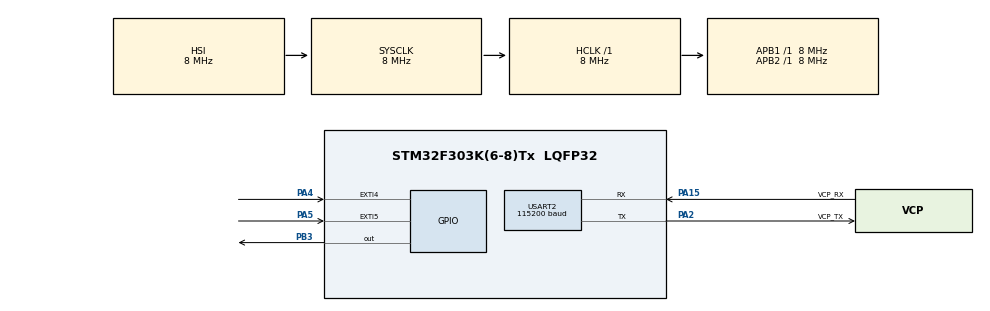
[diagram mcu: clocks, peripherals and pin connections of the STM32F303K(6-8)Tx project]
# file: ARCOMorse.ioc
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Mcu.Family=STM32F3
Mcu.Name=STM32F303K(6-8)Tx
Mcu.Package=LQFP32
NVIC.EXTI4_IRQn=true\:0\:0\:false\:false\:true\:true\:true\:true
NVIC.EXTI9_5_IRQn=true\:0\:0\:false\:false\:true\:true\:true\:true
NVIC.PriorityGroup=NVIC_PRIORITYGROUP_4
NVIC.TIM2_IRQn=true\:0\:0\:false\:false\:true\:true\:true\:true
PA13.GPIO_Label=SWDIO
PA13.Mode=Serial_Wire
PA13.Signal=SYS_JTMS-SWDIO
PA14.GPIO_Label=SWCLK
PA14.Mode=Serial_Wire
PA14.Signal=SYS_JTCK-SWCLK
PA15.GPIO_Label=VCP_RX
PA15.Mode=Asynchronous
PA15.Signal=USART2_RX
PA2.GPIO_Label=VCP_TX
PA2.Mode=Asynchronous
PA2.Signal=USART2_TX
PA4.GPIO_ModeDefaultEXTI=GPIO_MODE_IT_FALLING
PA4.Signal=GPXTI4
PA5.GPIO_ModeDefaultEXTI=GPIO_MODE_IT_FALLING
PA5.Signal=GPXTI5
PB3.Signal=GPIO_Output
PF0\ /\ OSC_IN.GPIO_Label=MCO
PF0\ /\ OSC_IN.Mode=HSE-External-Clock-Source
PF0\ /\ OSC_IN.Signal=RCC_OSC_IN
ProjectManager.HeapSize=0x200
ProjectManager.StackSize=0x400
ProjectManager.TargetToolchain=STM32CubeIDE
RCC.AHBFreq_Value=8000000
RCC.APB1Freq_Value=8000000
RCC.APB2Freq_Value=8000000
RCC.CortexFreq_Value=8000000
RCC.HSE_VALUE=8000000
RCC.HSI_VALUE=8000000
RCC.SYSCLKFreq_VALUE=8000000
TIM2.Period=4999
TIM2.Prescaler=7999
USART2.BaudRate=115200
USART2.VirtualMode-Asynchronous=VM_ASYNC
VP_TIM15_VS_ClockSourceINT.Mode=Internal
VP_TIM1_VS_ClockSourceINT.Mode=Internal
VP_TIM2_VS_ClockSourceINT.Mode=Internal
board=NUCLEO-F303K8

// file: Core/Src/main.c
/* USER CODE BEGIN Header */
/**
  ******************************************************************************
  * @file           : main.c
  * @brief          : Main program body
  ******************************************************************************
  * @attention
  *
  * Copyright (c) 2024 STMicroelectronics.
  * All rights reserved.
  *
  * This software is licensed under terms that can be found in the LICENSE file
  * in the root directory of this software component.
  * If no LICENSE file comes with this software, it is provided AS-IS.
  *
  ******************************************************************************
  */
/* USER CODE END Header */
#include "main.h"

/* USER CODE BEGIN Includes */
#include "stdio.h"
#include "string.h"
/* USER CODE END Includes */

TIM_HandleTypeDef htim1;
TIM_HandleTypeDef htim2;
TIM_HandleTypeDef htim15;

UART_HandleTypeDef huart2;

/* USER CODE BEGIN PV */
volatile int retransmitiendo = 0;
volatile int pulsado = 0;
char cadena[10];        // Cadena para almacenar puntos y rayas del código Morse
int indiceCadena = 0;   // Índice para manejar la cadena
/* USER CODE END PV */

void SystemClock_Config(void);
static void MX_GPIO_Init(void);
static void MX_USART2_UART_Init(void);
static void MX_TIM2_Init(void);
static void MX_TIM1_Init(void);
static void MX_TIM15_Init(void);

/* USER CODE BEGIN 0 */
// Función para decodificar código Morse a texto
char MorseDecode(const char *morseCode) {
    if (strcmp(morseCode, ".-") == 0) return 'A';
    if (strcmp(morseCode, "-...") == 0) return 'B';
    if (strcmp(morseCode, "-.-.") == 0) return 'C';
    if (strcmp(morseCode, "-..") == 0) return 'D';
    if (strcmp(morseCode, ".") == 0) return 'E';
    if (strcmp(morseCode, "..-.") == 0) return 'F';
    if (strcmp(morseCode, "--.") == 0) return 'G';
    if (strcmp(morseCode, "....") == 0) return 'H';
    if (strcmp(morseCode, "..") == 0) return 'I';
    if (strcmp(morseCode, ".---") == 0) return 'J';
    if (strcmp(morseCode, "-.-") == 0) return 'K';
    if (strcmp(morseCode, ".-..") == 0) return 'L';
    if (strcmp(morseCode, "--") == 0) return 'M';
    if (strcmp(morseCode, "-.") == 0) return 'N';
    if (strcmp(morseCode, "---") == 0) return 'O';
    if (strcmp(morseCode, ".--.") == 0) return 'P';
    if (strcmp(morseCode, "--.-") == 0) return 'Q';
    if (strcmp(morseCode, ".-.") == 0) return 'R';
    if (strcmp(morseCode, "...") == 0) return 'S';
    if (strcmp(morseCode, "-") == 0) return 'T';
    if (strcmp(morseCode, "..-") == 0) return 'U';
    if (strcmp(morseCode, "...-") == 0) return 'V';
    if (strcmp(morseCode, ".--") == 0) return 'W';
    if (strcmp(morseCode, "-..-") == 0) return 'X';
    if (strcmp(morseCode, "-.--") == 0) return 'Y';
    if (strcmp(morseCode, "--..") == 0) return 'Z';
    return '?'; // Si no se encuentra coincidencia
}
/* USER CODE END 0 */

int main(void)
{

  /* MCU Configuration--------------------------------------------------------*/

  /* Reset of all peripherals, Initializes the Flash interface and the Systick. */
  HAL_Init();

  /* Configure the system clock */
  SystemClock_Config();

  /* Initialize all configured peripherals */
  MX_GPIO_Init();
  MX_USART2_UART_Init();
  MX_TIM2_Init();
  MX_TIM1_Init();
  MX_TIM15_Init();
  /* USER CODE BEGIN 2 */
  HAL_TIM_Base_Start_IT(&htim2);
  int anterior=1;
  HAL_SYSTICK_Config(8000000/1000);

  /* USER CODE END 2 */

  /* Infinite loop */
  /* USER CODE BEGIN WHILE */
  while (1)
  {
    if (retransmitiendo) {
        HAL_GPIO_WritePin(GPIOB, GPIO_PIN_3, 1);
        while (HAL_GPIO_ReadPin(GPIOA, GPIO_PIN_5) == 0) {
        }
        if (pulsado) {
            if (TIM2->CNT >175) {
                cadena[indiceCadena] = '-';
                indiceCadena++;
            } else {
                cadena[indiceCadena] = '.';
                indiceCadena++;
            }
            pulsado = 0;
        }
        anterior=0;
    } else{

    	if(anterior==0 ){
			if (indiceCadena > 0) {
				cadena[indiceCadena] = '\0'; // Terminar la cadena
				char decodedChar = MorseDecode(cadena); // Decodificar el carácter Morse
				char mensaje[2] = {decodedChar, '\0'}; // Preparar para enviar
				HAL_UART_Transmit(&huart2, (uint8_t *)mensaje, strlen(mensaje), 0);
			}else {
				 HAL_UART_Transmit(&huart2, (uint8_t *)" ", 1, 0);

			}
			indiceCadena = 0;
			HAL_GPIO_WritePin(GPIOB, GPIO_PIN_3, 0);
			strcpy(cadena, ""); // Reiniciar cadena
			anterior=1;

    	}
    }
    /* USER CODE END WHILE */

  }
}

void SystemClock_Config(void)
{
  RCC_OscInitTypeDef RCC_OscInitStruct = {0};
  RCC_ClkInitTypeDef RCC_ClkInitStruct = {0};
  RCC_PeriphCLKInitTypeDef PeriphClkInit = {0};

  /** Initializes the RCC Oscillators according to the specified parameters
  * in the RCC_OscInitTypeDef structure.
  */
  RCC_OscInitStruct.OscillatorType = RCC_OSCILLATORTYPE_HSI;
  RCC_OscInitStruct.HSIState = RCC_HSI_ON;
  RCC_OscInitStruct.HSICalibrationValue = RCC_HSICALIBRATION_DEFAULT;
  RCC_OscInitStruct.PLL.PLLState = RCC_PLL_NONE;
  if (HAL_RCC_OscConfig(&RCC_OscInitStruct) != HAL_OK)
  {
    Error_Handler();
  }

  /** Initializes the CPU, AHB and APB buses clocks
  */
  RCC_ClkInitStruct.ClockType = RCC_CLOCKTYPE_HCLK|RCC_CLOCKTYPE_SYSCLK
                              |RCC_CLOCKTYPE_PCLK1|RCC_CLOCKTYPE_PCLK2;
  RCC_ClkInitStruct.SYSCLKSource = RCC_SYSCLKSOURCE_HSI;
  RCC_ClkInitStruct.AHBCLKDivider = RCC_SYSCLK_DIV1;
  RCC_ClkInitStruct.APB1CLKDivider = RCC_HCLK_DIV1;
  RCC_ClkInitStruct.APB2CLKDivider = RCC_HCLK_DIV1;

  if (HAL_RCC_ClockConfig(&RCC_ClkInitStruct, FLASH_LATENCY_0) != HAL_OK)
  {
    Error_Handler();
  }
  PeriphClkInit.PeriphClockSelection = RCC_PERIPHCLK_TIM1;
  PeriphClkInit.Tim1ClockSelection = RCC_TIM1CLK_HCLK;
  if (HAL_RCCEx_PeriphCLKConfig(&PeriphClkInit) != HAL_OK)
  {
    Error_Handler();
  }
}

static void MX_TIM1_Init(void)
{

  TIM_ClockConfigTypeDef sClockSourceConfig = {0};
  TIM_MasterConfigTypeDef sMasterConfig = {0};

  htim1.Instance = TIM1;
  htim1.Init.Prescaler = 0;
  htim1.Init.CounterMode = TIM_COUNTERMODE_UP;
  htim1.Init.Period = 65535;
  htim1.Init.ClockDivision = TIM_CLOCKDIVISION_DIV1;
  htim1.Init.RepetitionCounter = 0;
  htim1.Init.AutoReloadPreload = TIM_AUTORELOAD_PRELOAD_DISABLE;
  if (HAL_TIM_Base_Init(&htim1) != HAL_OK)
  {
    Error_Handler();
  }
  sClockSourceConfig.ClockSource = TIM_CLOCKSOURCE_INTERNAL;
  if (HAL_TIM_ConfigClockSource(&htim1, &sClockSourceConfig) != HAL_OK)
  {
    Error_Handler();
  }
  sMasterConfig.MasterOutputTrigger = TIM_TRGO_RESET;
  sMasterConfig.MasterOutputTrigger2 = TIM_TRGO2_RESET;
  sMasterConfig.MasterSlaveMode = TIM_MASTERSLAVEMODE_DISABLE;
  if (HAL_TIMEx_MasterConfigSynchronization(&htim1, &sMasterConfig) != HAL_OK)
  {
    Error_Handler();
  }

}

static void MX_TIM2_Init(void)
{

  TIM_ClockConfigTypeDef sClockSourceConfig = {0};
  TIM_MasterConfigTypeDef sMasterConfig = {0};

  htim2.Instance = TIM2;
  htim2.Init.Prescaler = 7999;
  htim2.Init.CounterMode = TIM_COUNTERMODE_UP;
  htim2.Init.Period = 4999;
  htim2.Init.ClockDivision = TIM_CLOCKDIVISION_DIV1;
  htim2.Init.AutoReloadPreload = TIM_AUTORELOAD_PRELOAD_DISABLE;
  if (HAL_TIM_Base_Init(&htim2) != HAL_OK)
  {
    Error_Handler();
  }
  sClockSourceConfig.ClockSource = TIM_CLOCKSOURCE_INTERNAL;
  if (HAL_TIM_ConfigClockSource(&htim2, &sClockSourceConfig) != HAL_OK)
  {
    Error_Handler();
  }
  sMasterConfig.MasterOutputTrigger = TIM_TRGO_RESET;
  sMasterConfig.MasterSlaveMode = TIM_MASTERSLAVEMODE_DISABLE;
  if (HAL_TIMEx_MasterConfigSynchronization(&htim2, &sMasterConfig) != HAL_OK)
  {
    Error_Handler();
  }

}

static void MX_TIM15_Init(void)
{

  TIM_ClockConfigTypeDef sClockSourceConfig = {0};
  TIM_MasterConfigTypeDef sMasterConfig = {0};

  htim15.Instance = TIM15;
  htim15.Init.Prescaler = 0;
  htim15.Init.CounterMode = TIM_COUNTERMODE_UP;
  htim15.Init.Period = 65535;
  htim15.Init.ClockDivision = TIM_CLOCKDIVISION_DIV1;
  htim15.Init.RepetitionCounter = 0;
  htim15.Init.AutoReloadPreload = TIM_AUTORELOAD_PRELOAD_DISABLE;
  if (HAL_TIM_Base_Init(&htim15) != HAL_OK)
  {
    Error_Handler();
  }
  sClockSourceConfig.ClockSource = TIM_CLOCKSOURCE_INTERNAL;
  if (HAL_TIM_ConfigClockSource(&htim15, &sClockSourceConfig) != HAL_OK)
  {
    Error_Handler();
  }
  sMasterConfig.MasterOutputTrigger = TIM_TRGO_RESET;
  sMasterConfig.MasterSlaveMode = TIM_MASTERSLAVEMODE_DISABLE;
  if (HAL_TIMEx_MasterConfigSynchronization(&htim15, &sMasterConfig) != HAL_OK)
  {
    Error_Handler();
  }

}

static void MX_USART2_UART_Init(void)
{

  huart2.Instance = USART2;
  huart2.Init.BaudRate = 115200;
  huart2.Init.WordLength = UART_WORDLENGTH_8B;
  huart2.Init.StopBits = UART_STOPBITS_1;
  huart2.Init.Parity = UART_PARITY_NONE;
  huart2.Init.Mode = UART_MODE_TX_RX;
  huart2.Init.HwFlowCtl = UART_HWCONTROL_NONE;
  huart2.Init.OverSampling = UART_OVERSAMPLING_16;
  huart2.Init.OneBitSampling = UART_ONE_BIT_SAMPLE_DISABLE;
  huart2.AdvancedInit.AdvFeatureInit = UART_ADVFEATURE_NO_INIT;
  if (HAL_UART_Init(&huart2) != HAL_OK)
  {
    Error_Handler();
  }

}

static void MX_GPIO_Init(void)
{
  GPIO_InitTypeDef GPIO_InitStruct = {0};

  /* GPIO Ports Clock Enable */
  __HAL_RCC_GPIOF_CLK_ENABLE();
  __HAL_RCC_GPIOA_CLK_ENABLE();
  __HAL_RCC_GPIOB_CLK_ENABLE();

  /*Configure GPIO pin Output Level */
  HAL_GPIO_WritePin(GPIOB, GPIO_PIN_3, GPIO_PIN_RESET);

  /*Configure GPIO pins : PA4 PA5 */
  GPIO_InitStruct.Pin = GPIO_PIN_4|GPIO_PIN_5;
  GPIO_InitStruct.Mode = GPIO_MODE_IT_FALLING;
  GPIO_InitStruct.Pull = GPIO_NOPULL;
  HAL_GPIO_Init(GPIOA, &GPIO_InitStruct);

  /*Configure GPIO pin : PB3 */
  GPIO_InitStruct.Pin = GPIO_PIN_3;
  GPIO_InitStruct.Mode = GPIO_MODE_OUTPUT_PP;
  GPIO_InitStruct.Pull = GPIO_NOPULL;
  GPIO_InitStruct.Speed = GPIO_SPEED_FREQ_LOW;
  HAL_GPIO_Init(GPIOB, &GPIO_InitStruct);

  /* EXTI interrupt init*/
  HAL_NVIC_SetPriority(EXTI4_IRQn, 0, 0);
  HAL_NVIC_EnableIRQ(EXTI4_IRQn);

  HAL_NVIC_SetPriority(EXTI9_5_IRQn, 0, 0);
  HAL_NVIC_EnableIRQ(EXTI9_5_IRQn);

}

void Error_Handler(void)
{
  __disable_irq();
  while (1)
  {
  }
}
